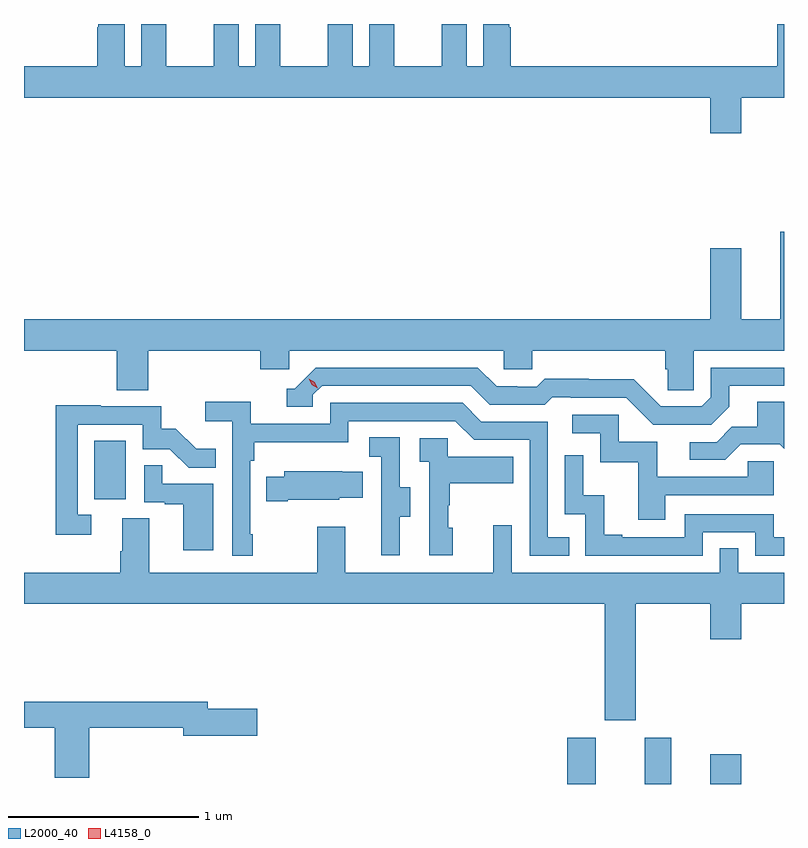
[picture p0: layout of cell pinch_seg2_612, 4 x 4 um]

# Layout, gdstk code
import gdstk
lib = gdstk.Library(unit=1e-6, precision=1e-09)
def R(c, l, rs):  # rectangles x0, y0, x1, y1
    for r in rs: c.add(gdstk.rectangle(r[:2], r[2:], *l))
def P(c, l, *ps):  # polygons
    for p in ps: c.add(gdstk.Polygon(p, *l))
L2000_40 = (2000, 40)
L4158_0 = (4158, 0)

pinch_seg2_612 = lib.new_cell('pinch_seg2_612')
R(pinch_seg2_612, L2000_40, [(1027.391,602.731,1027.543,602.974), (1027.799,602.731,1027.939,602.974), (1028.144,602.731,1028.308,602.887), (1024.904,604.23,1025.068,604.537)])
P(pinch_seg2_612, L2000_40, [(1028.308,606.344),(1028.533,606.344),(1028.533,606.731),(1028.498,606.731),(1028.498,606.508),(1027.094,606.508),(1027.094,606.713),(1027.087,606.713),(1027.087,606.731),(1026.95,606.731),(1026.95,606.508),(1026.862,606.508),(1026.862,606.731),(1026.731,606.731),(1026.731,606.508),(1026.481,606.508),(1026.481,606.731),(1026.35,606.731),(1026.35,606.508),(1026.262,606.508),(1026.262,606.731),(1026.131,606.731),(1026.131,606.508),(1025.881,606.508),(1025.881,606.731),(1025.75,606.731),(1025.75,606.508),(1025.662,606.508),(1025.662,606.731),(1025.531,606.731),(1025.531,606.508),(1025.281,606.508),(1025.281,606.731),(1025.15,606.731),(1025.15,606.508),(1025.062,606.508),(1025.062,606.731),(1024.925,606.731),(1024.925,606.713),(1024.919,606.713),(1024.919,606.508),(1024.533,606.508),(1024.533,606.344),(1028.144,606.344),(1028.144,606.156),(1028.308,606.156)],
  [(1025.186,605.012),(1025.777,605.012),(1025.777,604.914),(1025.928,604.914),(1025.928,605.012),(1027.059,605.012),(1027.059,604.914),(1027.209,604.914),(1027.209,605.012),(1027.907,605.012),(1027.907,604.914),(1027.921,604.914),(1027.921,604.804),(1028.058,604.804),(1028.058,605.012),(1028.533,605.012),(1028.533,605.638),(1028.513,605.638),(1028.513,605.176),(1028.308,605.176),(1028.308,605.551),(1028.144,605.551),(1028.144,605.176),(1024.533,605.176),(1024.533,605.012),(1025.021,605.012),(1025.021,604.804),(1025.186,604.804)],
  [(1028.245,604.717),(1028.245,604.827),(1028.533,604.827),(1028.533,604.923),(1028.148,604.923),(1028.148,604.767),(1028.1,604.719),(1027.884,604.719),(1027.742,604.861),(1027.506,604.861),(1027.506,604.864),(1027.273,604.864),(1027.231,604.821),(1027.128,604.821),(1027.128,604.824),(1027.021,604.824),(1026.922,604.923),(1026.069,604.923),(1025.958,604.812),(1025.915,604.812),(1025.915,604.716),(1026.054,604.716),(1026.054,604.779),(1026.102,604.827),(1026.885,604.827),(1026.984,604.728),(1027.273,604.728),(1027.312,604.767),(1027.411,604.767),(1027.411,604.764),(1027.704,604.764),(1027.845,604.623),(1028.151,604.623)],
  [(1028.305,604.518),(1028.511,604.518),(1028.533,604.496),(1028.533,604.742),(1028.393,604.742),(1028.393,604.61),(1028.258,604.61),(1028.178,604.53),(1028.037,604.53),(1028.037,604.437),(1028.224,604.437)],
  [(1025.737,604.045),(1025.724,604.045),(1025.724,604.433),(1025.744,604.433),(1025.744,604.529),(1026.24,604.529),(1026.24,604.641),(1026.804,604.641),(1026.903,604.542),(1027.194,604.542),(1027.194,603.933),(1027.403,603.933),(1027.403,604.029),(1027.29,604.029),(1027.29,604.638),(1026.94,604.638),(1026.841,604.737),(1026.144,604.737),(1026.144,604.626),(1025.726,604.626),(1025.726,604.742),(1025.487,604.742),(1025.487,604.64),(1025.628,604.64),(1025.628,603.933),(1025.737,603.933)],
  [(1024.888,604.149),(1024.815,604.149),(1024.815,604.623),(1025.157,604.623),(1025.157,604.494),(1025.301,604.494),(1025.399,604.396),(1025.543,604.396),(1025.543,604.495),(1025.439,604.495),(1025.332,604.602),(1025.256,604.602),(1025.256,604.719),(1024.937,604.719),(1024.937,604.724),(1024.699,604.724),(1024.699,604.044),(1024.888,604.044)],
  [(1027.909,604.251),(1028.478,604.251),(1028.478,604.431),(1028.341,604.431),(1028.341,604.347),(1027.867,604.347),(1027.867,604.533),(1027.662,604.533),(1027.662,604.674),(1027.419,604.674),(1027.419,604.578),(1027.566,604.578),(1027.566,604.425),(1027.765,604.425),(1027.765,604.122),(1027.909,604.122)],
  [(1026.511,604.138),(1026.565,604.138),(1026.565,604.293),(1026.51,604.293),(1026.51,604.556),(1026.351,604.556),(1026.351,604.453),(1026.414,604.453),(1026.414,604.149),(1026.413,604.149),(1026.413,603.936),(1026.511,603.936)],
  [(1026.79,604.08),(1026.765,604.08),(1026.765,604.199),(1026.775,604.199),(1026.775,604.313),(1027.109,604.313),(1027.109,604.453),(1026.762,604.453),(1026.762,604.551),(1026.615,604.551),(1026.615,604.427),(1026.666,604.427),(1026.666,603.936),(1026.79,603.936)],
  [(1028.106,604.056),(1028.382,604.056),(1028.382,603.933),(1028.533,603.933),(1028.533,604.029),(1028.478,604.029),(1028.478,604.152),(1028.01,604.152),(1028.01,604.029),(1027.681,604.029),(1027.681,604.042),(1027.586,604.042),(1027.586,604.25),(1027.476,604.25),(1027.476,604.462),(1027.38,604.462),(1027.38,604.152),(1027.488,604.152),(1027.488,603.933),(1028.106,603.933)],
  [(1025.53,604.311),(1025.261,604.311),(1025.261,604.409),(1025.166,604.409),(1025.166,604.215),(1025.273,604.215),(1025.273,604.203),(1025.372,604.203),(1025.372,603.96),(1025.53,603.96)],
  [(1025.92,604.226),(1026.192,604.226),(1026.192,604.238),(1026.317,604.238),(1026.317,604.375),(1026.209,604.375),(1026.209,604.378),(1025.903,604.378),(1025.903,604.348),(1025.809,604.348),(1025.809,604.219),(1025.92,604.219)],
  [(1027.753,603.68),(1028.144,603.68),(1028.144,603.492),(1028.308,603.492),(1028.308,603.68),(1028.533,603.68),(1028.533,603.844),(1028.292,603.844),(1028.292,603.971),(1028.196,603.971),(1028.196,603.844),(1027.101,603.844),(1027.101,604.093),(1027.004,604.093),(1027.004,603.844),(1026.223,603.844),(1026.223,604.084),(1026.076,604.084),(1026.076,603.844),(1025.191,603.844),(1025.191,604.13),(1025.051,604.13),(1025.051,603.956),(1025.039,603.956),(1025.039,603.844),(1024.533,603.844),(1024.533,603.68),(1027.589,603.68),(1027.589,603.066),(1027.753,603.066)],
  [(1024.877,603.028),(1025.372,603.028),(1025.372,602.986),(1025.761,602.986),(1025.761,603.128),(1025.5,603.128),(1025.5,603.164),(1024.533,603.164),(1024.533,603.028),(1024.694,603.028),(1024.694,602.763),(1024.877,602.763)])
P(pinch_seg2_612, L4158_0, [(1026.078,604.813),(1026.047,604.832),(1026.031,604.865),(1026.031,604.865),(1026.031,604.865),(1026.062,604.846),(1026.078,604.813),(1026.078,604.813)])

lib.write_gds('pinch_seg2_612.gds')
